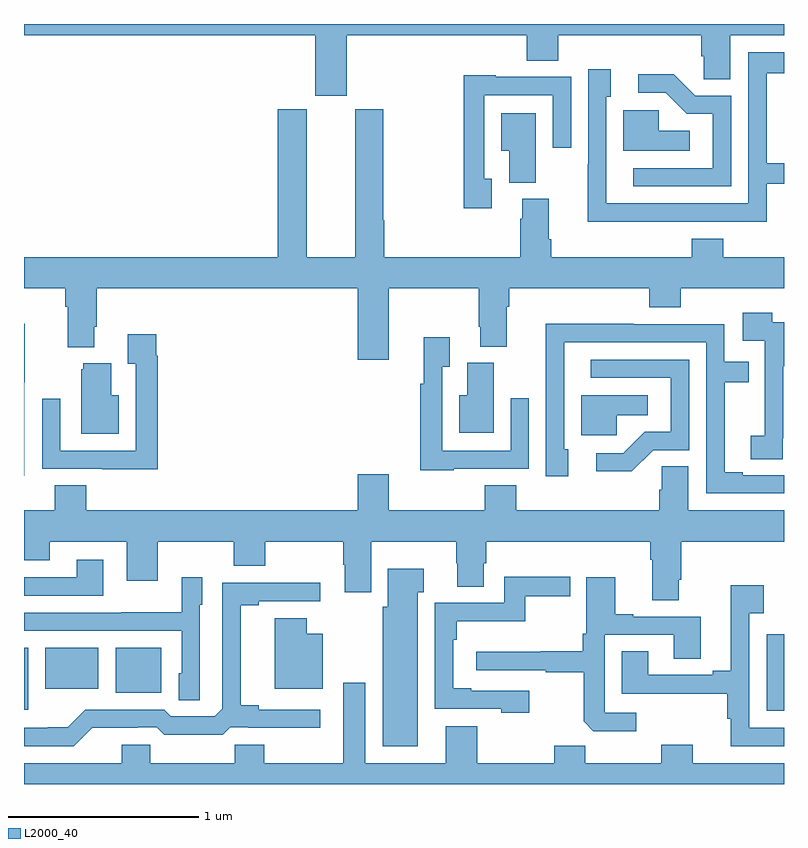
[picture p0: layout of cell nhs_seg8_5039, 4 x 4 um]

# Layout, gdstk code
import gdstk
lib = gdstk.Library(unit=1e-6, precision=1e-09)
def R(c, l, rs):  # rectangles x0, y0, x1, y1
    for r in rs: c.add(gdstk.rectangle(r[:2], r[2:], *l))
def P(c, l, *ps):  # polygons
    for p in ps: c.add(gdstk.Polygon(p, *l))
L2000_40 = (2000, 40)

nhs_seg8_5039 = lib.new_cell('nhs_seg8_5039')
R(nhs_seg8_5039, L2000_40, [(418.908,1106.286,419,1106.689), (415,1106.292,415.023,1106.616), (415.484,1106.381,415.723,1106.617), (415.112,1106.402,415.39,1106.617)])
P(nhs_seg8_5039, L2000_40, [(416.698,1109.84),(417.647,1109.84),(417.647,1109.707),(417.812,1109.707),(417.812,1109.84),(418.565,1109.84),(418.565,1109.731),(418.578,1109.731),(418.578,1109.608),(418.717,1109.608),(418.717,1109.84),(419,1109.84),(419,1109.9),(415,1109.9),(415,1109.84),(416.534,1109.84),(416.534,1109.523),(416.698,1109.523)],
  [(418.43,1108.86),(418.908,1108.86),(418.908,1109.058),(419,1109.058),(419,1109.167),(418.909,1109.167),(418.909,1109.64),(419,1109.64),(419,1109.751),(418.812,1109.751),(418.812,1108.956),(418.065,1108.956),(418.065,1109.517),(418.087,1109.517),(418.087,1109.662),(417.969,1109.662),(417.969,1109.162),(417.968,1109.162),(417.968,1108.859),(418.43,1108.859)],
  [(418.722,1109.523),(418.533,1109.523),(418.42,1109.636),(418.233,1109.636),(418.233,1109.538),(418.377,1109.538),(418.488,1109.427),(418.626,1109.427),(418.626,1109.142),(418.206,1109.142),(418.206,1109.046),(418.722,1109.046)],
  [(417.463,1109.085),(417.423,1109.085),(417.423,1109.526),(417.783,1109.526),(417.783,1109.25),(417.879,1109.25),(417.879,1109.622),(417.483,1109.622),(417.483,1109.629),(417.315,1109.629),(417.315,1108.929),(417.463,1108.929)],
  [(416.92,1108.508),(417.394,1108.508),(417.394,1108.306),(417.401,1108.306),(417.401,1108.201),(417.541,1108.201),(417.541,1108.412),(417.554,1108.412),(417.554,1108.508),(418.292,1108.508),(418.292,1108.409),(418.457,1108.409),(418.457,1108.508),(419,1108.508),(419,1108.672),(418.679,1108.672),(418.679,1108.771),(418.514,1108.771),(418.514,1108.672),(417.776,1108.672),(417.776,1108.768),(417.763,1108.768),(417.763,1108.98),(417.623,1108.98),(417.623,1108.874),(417.611,1108.874),(417.611,1108.672),(416.897,1108.672),(416.897,1108.868),(416.892,1108.868),(416.892,1109.451),(416.744,1109.451),(416.744,1108.672),(416.488,1108.672),(416.488,1109.451),(416.336,1109.451),(416.336,1108.672),(415,1108.672),(415,1108.508),(415.217,1108.508),(415.217,1108.412),(415.229,1108.412),(415.229,1108.199),(415.369,1108.199),(415.369,1108.306),(415.382,1108.306),(415.382,1108.508),(416.756,1108.508),(416.756,1108.134),(416.92,1108.134)],
  [(418.504,1109.338),(418.341,1109.338),(418.341,1109.445),(418.154,1109.445),(418.154,1109.234),(418.504,1109.234)],
  [(417.694,1109.431),(417.512,1109.431),(417.512,1109.234),(417.554,1109.234),(417.554,1109.065),(417.694,1109.065)],
  [(418.994,1107.721),(418.996,1107.721),(418.996,1108.099),(419,1108.099),(419,1108.329),(418.938,1108.329),(418.938,1108.381),(418.782,1108.381),(418.782,1108.233),(418.899,1108.233),(418.899,1107.929),(418.898,1107.929),(418.898,1107.732),(418.824,1107.732),(418.824,1107.61),(418.994,1107.61)],
  [(415.002,1108.015),(415.005,1108.015),(415.005,1108.322),(415,1108.322),(415,1107.522),(415.002,1107.522)],
  [(419,1107.525),(418.783,1107.525),(418.783,1107.54),(418.687,1107.54),(418.687,1108.014),(418.814,1108.014),(418.814,1108.122),(418.686,1108.122),(418.686,1108.32),(418.208,1108.32),(418.208,1108.322),(417.746,1108.322),(417.746,1108.018),(417.747,1108.018),(417.747,1107.519),(417.865,1107.519),(417.865,1107.663),(417.843,1107.663),(417.843,1108.224),(418.59,1108.224),(418.59,1107.429),(419,1107.429)],
  [(415.703,1108.154),(415.696,1108.154),(415.696,1108.267),(415.547,1108.267),(415.547,1108.111),(415.587,1108.111),(415.587,1107.654),(415.191,1107.654),(415.191,1107.928),(415.095,1107.928),(415.095,1107.558),(415.411,1107.558),(415.411,1107.557),(415.703,1107.557)],
  [(417.261,1107.558),(417.657,1107.558),(417.657,1107.931),(417.561,1107.931),(417.561,1107.654),(417.201,1107.654),(417.201,1108.096),(417.241,1108.096),(417.241,1108.252),(417.104,1108.252),(417.104,1108.007),(417.085,1108.007),(417.085,1107.551),(417.261,1107.551)],
  [(418.311,1107.657),(418.5,1107.657),(418.5,1108.134),(417.984,1108.134),(417.984,1108.038),(418.404,1108.038),(418.404,1107.753),(418.266,1107.753),(418.155,1107.642),(418.011,1107.642),(418.011,1107.545),(418.198,1107.545)],
  [(417.472,1108.116),(417.332,1108.116),(417.332,1107.946),(417.29,1107.946),(417.29,1107.749),(417.472,1107.749)],
  [(415.498,1107.946),(415.459,1107.946),(415.459,1108.114),(415.313,1108.114),(415.313,1108.083),(415.301,1108.083),(415.301,1107.743),(415.498,1107.743)],
  [(418.119,1107.842),(418.282,1107.842),(418.282,1107.946),(417.932,1107.946),(417.932,1107.735),(418.119,1107.735)],
  [(418.447,1106.974),(418.46,1106.974),(418.46,1107.176),(419,1107.176),(419,1107.34),(418.495,1107.34),(418.495,1107.572),(418.356,1107.572),(418.356,1107.449),(418.343,1107.449),(418.343,1107.34),(417.59,1107.34),(417.59,1107.473),(417.425,1107.473),(417.425,1107.34),(416.92,1107.34),(416.92,1107.529),(416.756,1107.529),(416.756,1107.34),(415.328,1107.34),(415.328,1107.473),(415.163,1107.473),(415.163,1107.34),(415,1107.34),(415,1107.077),(415.135,1107.077),(415.135,1107.176),(415.541,1107.176),(415.541,1106.97),(415.705,1106.97),(415.705,1107.176),(416.105,1107.176),(416.105,1107.048),(416.269,1107.048),(416.269,1107.176),(416.68,1107.176),(416.68,1107.055),(416.687,1107.055),(416.687,1106.91),(416.827,1106.91),(416.827,1107.176),(417.274,1107.176),(417.274,1107.063),(417.281,1107.063),(417.281,1106.938),(417.421,1106.938),(417.421,1107.063),(417.434,1107.063),(417.434,1107.176),(418.295,1107.176),(418.295,1107.08),(418.307,1107.08),(418.307,1106.866),(418.447,1106.866)],
  [(415.417,1107.079),(415.277,1107.079),(415.277,1106.988),(415,1106.988),(415,1106.892),(415.417,1106.892)],
  [(417.073,1106.909),(417.103,1106.909),(417.103,1107.034),(416.915,1107.034),(416.915,1106.832),(416.888,1106.832),(416.888,1106.099),(417.073,1106.099)],
  [(417.658,1106.391),(417.355,1106.391),(417.355,1106.404),(417.258,1106.404),(417.258,1106.66),(417.278,1106.66),(417.278,1106.756),(417.637,1106.756),(417.637,1106.887),(417.874,1106.887),(417.874,1106.99),(417.528,1106.99),(417.528,1106.853),(417.162,1106.853),(417.162,1106.295),(417.513,1106.295),(417.513,1106.276),(417.658,1106.276)],
  [(415.926,1106.844),(415.939,1106.844),(415.939,1106.989),(415.83,1106.989),(415.83,1106.803),(415.513,1106.803),(415.513,1106.802),(415,1106.802),(415,1106.706),(415.83,1106.706),(415.83,1106.484),(415.814,1106.484),(415.814,1106.341),(415.926,1106.341)],
  [(418.222,1106.274),(418.056,1106.274),(418.056,1106.685),(418.421,1106.685),(418.421,1106.56),(418.561,1106.56),(418.561,1106.781),(418.207,1106.781),(418.207,1106.794),(418.111,1106.794),(418.111,1106.989),(417.96,1106.989),(417.96,1106.692),(417.94,1106.692),(417.94,1106.6),(417.721,1106.6),(417.721,1106.596),(417.381,1106.596),(417.381,1106.499),(417.745,1106.499),(417.745,1106.487),(417.945,1106.487),(417.945,1106.229),(417.997,1106.178),(418.222,1106.178)],
  [(415.358,1106.195),(415.598,1106.195),(415.598,1106.199),(415.698,1106.199),(415.738,1106.16),(416.045,1106.16),(416.085,1106.199),(416.179,1106.199),(416.179,1106.195),(416.56,1106.195),(416.56,1106.292),(416.236,1106.292),(416.236,1106.315),(416.141,1106.315),(416.141,1106.842),(416.236,1106.842),(416.236,1106.862),(416.56,1106.862),(416.56,1106.958),(416.043,1106.958),(416.043,1106.295),(416.004,1106.256),(415.773,1106.256),(415.737,1106.292),(415.323,1106.292),(415.229,1106.198),(415.124,1106.198),(415.124,1106.196),(415,1106.196),(415,1106.1),(415.263,1106.1)],
  [(419,1106.196),(418.818,1106.196),(418.818,1106.798),(418.894,1106.798),(418.894,1106.947),(418.721,1106.947),(418.721,1106.495),(418.625,1106.495),(418.625,1106.475),(418.285,1106.475),(418.285,1106.6),(418.145,1106.6),(418.145,1106.374),(418.702,1106.374),(418.702,1106.243),(418.721,1106.243),(418.721,1106.1),(419,1106.1)],
  [(416.572,1106.692),(416.487,1106.692),(416.487,1106.773),(416.321,1106.773),(416.321,1106.402),(416.572,1106.402)],
  [(419,1106.008),(418.519,1106.008),(418.519,1106.107),(418.355,1106.107),(418.355,1106.008),(417.955,1106.008),(417.955,1106.101),(417.791,1106.101),(417.791,1106.008),(417.385,1106.008),(417.385,1106.203),(417.221,1106.203),(417.221,1106.008),(416.797,1106.008),(416.797,1106.434),(416.681,1106.434),(416.681,1106.008),(416.265,1106.008),(416.265,1106.106),(416.11,1106.106),(416.11,1106.008),(415.665,1106.008),(415.665,1106.106),(415.514,1106.106),(415.514,1106.008),(415,1106.008),(415,1105.9),(419,1105.9)])

lib.write_gds('nhs_seg8_5039.gds')
